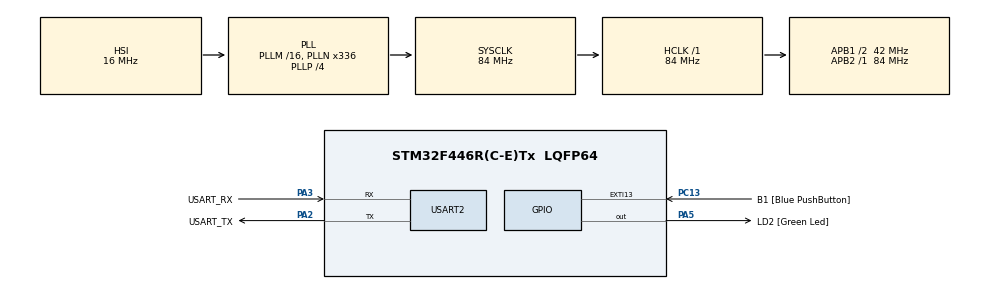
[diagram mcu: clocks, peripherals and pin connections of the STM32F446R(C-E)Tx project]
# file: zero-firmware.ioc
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Dma.Request0=USART2_TX
Dma.USART2_TX.0.Direction=DMA_MEMORY_TO_PERIPH
Dma.USART2_TX.0.FIFOMode=DMA_FIFOMODE_DISABLE
Dma.USART2_TX.0.Instance=DMA1_Stream6
Dma.USART2_TX.0.MemDataAlignment=DMA_MDATAALIGN_BYTE
Dma.USART2_TX.0.MemInc=DMA_MINC_ENABLE
Dma.USART2_TX.0.Mode=DMA_NORMAL
Dma.USART2_TX.0.PeriphDataAlignment=DMA_PDATAALIGN_BYTE
Dma.USART2_TX.0.PeriphInc=DMA_PINC_DISABLE
Dma.USART2_TX.0.Priority=DMA_PRIORITY_LOW
FREERTOS.Tasks01=defaultTask,24,128,StartDefaultTask,Default,NULL,Dynamic,NULL,NULL
FREERTOS.configCHECK_FOR_STACK_OVERFLOW=2
FREERTOS.configUSE_NEWLIB_REENTRANT=1
IWDG.Prescaler=IWDG_PRESCALER_16
Mcu.Family=STM32F4
Mcu.Name=STM32F446R(C-E)Tx
Mcu.Package=LQFP64
NVIC.DMA1_Stream6_IRQn=true\:5\:0\:false\:false\:true\:true\:false\:true\:true
NVIC.PriorityGroup=NVIC_PRIORITYGROUP_4
NVIC.TIM6_DAC_IRQn=true\:15\:0\:false\:false\:true\:false\:false\:true\:true
NVIC.TimeBase=TIM6_DAC_IRQn
NVIC.TimeBaseIP=TIM6
NVIC.USART2_IRQn=true\:5\:0\:false\:false\:true\:true\:true\:true\:true
PA13.GPIO_Label=TMS
PA13.Mode=Serial_Wire
PA13.Signal=SYS_JTMS-SWDIO
PA14.GPIO_Label=TCK
PA14.Mode=Serial_Wire
PA14.Signal=SYS_JTCK-SWCLK
PA2.GPIO_Label=USART_TX
PA2.Mode=Asynchronous
PA2.Signal=USART2_TX
PA3.GPIO_Label=USART_RX
PA3.Mode=Asynchronous
PA3.Signal=USART2_RX
PA5.GPIO_Label=LD2 [Green Led]
PA5.Signal=GPIO_Output
PB3.GPIO_Label=SWO
PB3.Signal=SYS_JTDO-SWO
PC13.GPIO_Label=B1 [Blue PushButton]
PC13.GPIO_ModeDefaultEXTI=GPIO_MODE_IT_FALLING
PC13.Signal=GPXTI13
PC14-OSC32_IN.Mode=LSE-External-Oscillator
PC14-OSC32_IN.Signal=RCC_OSC32_IN
PC15-OSC32_OUT.Mode=LSE-External-Oscillator
PC15-OSC32_OUT.Signal=RCC_OSC32_OUT
PH0-OSC_IN.Mode=HSE-External-Oscillator
PH0-OSC_IN.Signal=RCC_OSC_IN
PH1-OSC_OUT.Mode=HSE-External-Oscillator
PH1-OSC_OUT.Signal=RCC_OSC_OUT
ProjectManager.HeapSize=0x200
ProjectManager.StackSize=0x400
ProjectManager.TargetToolchain=STM32CubeIDE
RCC.48MHZClocksFreq_Value=84000000
RCC.AHBFreq_Value=84000000
RCC.APB1CLKDivider=RCC_HCLK_DIV2
RCC.APB1Freq_Value=42000000
RCC.APB1TimFreq_Value=84000000
RCC.APB2Freq_Value=84000000
RCC.APB2TimFreq_Value=84000000
RCC.CortexFreq_Value=84000000
RCC.FLatency-AdvancedSettings=FLASH_LATENCY_2
RCC.HCLKFreq_Value=84000000
RCC.HSE_VALUE=8000000
RCC.HSI_VALUE=16000000
RCC.PLLN=336
RCC.PLLP=RCC_PLLP_DIV4
RCC.SYSCLKFreq_VALUE=84000000
RCC.SYSCLKSource=RCC_SYSCLKSOURCE_PLLCLK
RCC.USBFreq_Value=168000000
RCC.VCOOutputFreq_Value=336000000
USART2.VirtualMode=VM_ASYNC
VP_FREERTOS_VS_CMSIS_V2.Mode=CMSIS_V2
VP_IWDG_VS_IWDG.Mode=IWDG_Activate
VP_SYS_VS_tim6.Mode=TIM6
board=NUCLEO-F446RE

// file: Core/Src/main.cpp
/* USER CODE BEGIN Header */
/**
  ******************************************************************************
  * @file           : main.c
  * @brief          : Main program body
  ******************************************************************************
  * @attention
  *
  * Copyright (c) 2026 STMicroelectronics.
  * All rights reserved.
  *
  * This software is licensed under terms that can be found in the LICENSE file
  * in the root directory of this software component.
  * If no LICENSE file comes with this software, it is provided AS-IS.
  *
  ******************************************************************************
  */
/* USER CODE END Header */
#include "main.h"
#include "cmsis_os.h"

/* USER CODE BEGIN Includes */
#include "imu_data.hpp"
#include <cstdlib>
#include <cmath>
#include <cstdio>
#include <cstring>
/* USER CODE END Includes */

IWDG_HandleTypeDef hiwdg;

UART_HandleTypeDef huart2;
DMA_HandleTypeDef hdma_usart2_tx;

/* Definitions for defaultTask */
osThreadId_t defaultTaskHandle;
const osThreadAttr_t defaultTask_attributes = {
  .name = "defaultTask",
  .stack_size = 128 * 4,
  .priority = (osPriority_t) osPriorityNormal,
};
/* USER CODE BEGIN PV */
osMessageQueueId_t imuQueueHandle;

/* DMA UART TX Semaphore handle */
osSemaphoreId_t uartTxSemHandle;

/* Definitions for SensorTask */
osThreadId_t sensorTaskHandle;
const osThreadAttr_t sensorTask_attributes = {
  .name = "SensorTask",
  .stack_size = 128 * 4,
  .priority = (osPriority_t) osPriorityNormal,
};

/* Definitions for UartTask */
osThreadId_t uartTaskHandle;
const osThreadAttr_t uartTask_attributes = {
  .name = "UartTask",
  .stack_size = 128 * 8,
  .priority = (osPriority_t) osPriorityNormal,
};
/* USER CODE END PV */

void SystemClock_Config(void);
static void MX_GPIO_Init(void);
static void MX_DMA_Init(void);
static void MX_USART2_UART_Init(void);
static void MX_IWDG_Init(void);
void StartDefaultTask(void *argument);

/* USER CODE BEGIN PFP */
void SensorTask(void *argument);
void UartTask(void *argument);
/* USER CODE END PFP */

int main(void)
{

  /* MCU Configuration--------------------------------------------------------*/

  /* Reset of all peripherals, Initializes the Flash interface and the Systick. */
  HAL_Init();

  /* Configure the system clock */
  SystemClock_Config();

  /* Initialize all configured peripherals */
  MX_GPIO_Init();
  MX_DMA_Init();
  MX_USART2_UART_Init();
  MX_IWDG_Init();

  /* Init scheduler */
  osKernelInitialize();

  /* USER CODE BEGIN RTOS_QUEUES */
  imuQueueHandle = osMessageQueueNew(8, sizeof(imu_data), NULL);
  uartTxSemHandle = osSemaphoreNew(1, 1, NULL);
  /* USER CODE END RTOS_QUEUES */

  /* Create the thread(s) */
  /* creation of defaultTask */
  defaultTaskHandle = osThreadNew(StartDefaultTask, NULL, &defaultTask_attributes);

  /* USER CODE BEGIN RTOS_THREADS */
  /* creation of sensorTask */
  sensorTaskHandle = osThreadNew(SensorTask, NULL, &sensorTask_attributes);
  /* creation of uartTask */
  uartTaskHandle = osThreadNew(UartTask, NULL, &uartTask_attributes);
  /* USER CODE END RTOS_THREADS */

  /* Start scheduler */
  osKernelStart();

  /* We should never get here as control is now taken by the scheduler */

  /* Infinite loop */
  while (1)
  {

  }
}

void SystemClock_Config(void)
{
  RCC_OscInitTypeDef RCC_OscInitStruct = {0};
  RCC_ClkInitTypeDef RCC_ClkInitStruct = {0};

  /** Configure the main internal regulator output voltage
  */
  __HAL_RCC_PWR_CLK_ENABLE();
  __HAL_PWR_VOLTAGESCALING_CONFIG(PWR_REGULATOR_VOLTAGE_SCALE3);

  /** Initializes the RCC Oscillators according to the specified parameters
  * in the RCC_OscInitTypeDef structure.
  */
  RCC_OscInitStruct.OscillatorType = RCC_OSCILLATORTYPE_HSI|RCC_OSCILLATORTYPE_LSI;
  RCC_OscInitStruct.HSIState = RCC_HSI_ON;
  RCC_OscInitStruct.HSICalibrationValue = RCC_HSICALIBRATION_DEFAULT;
  RCC_OscInitStruct.LSIState = RCC_LSI_ON;
  RCC_OscInitStruct.PLL.PLLState = RCC_PLL_ON;
  RCC_OscInitStruct.PLL.PLLSource = RCC_PLLSOURCE_HSI;
  RCC_OscInitStruct.PLL.PLLM = 16;
  RCC_OscInitStruct.PLL.PLLN = 336;
  RCC_OscInitStruct.PLL.PLLP = RCC_PLLP_DIV4;
  RCC_OscInitStruct.PLL.PLLQ = 2;
  RCC_OscInitStruct.PLL.PLLR = 2;
  if (HAL_RCC_OscConfig(&RCC_OscInitStruct) != HAL_OK)
  {
    Error_Handler();
  }

  /** Initializes the CPU, AHB and APB buses clocks
  */
  RCC_ClkInitStruct.ClockType = RCC_CLOCKTYPE_HCLK|RCC_CLOCKTYPE_SYSCLK
                              |RCC_CLOCKTYPE_PCLK1|RCC_CLOCKTYPE_PCLK2;
  RCC_ClkInitStruct.SYSCLKSource = RCC_SYSCLKSOURCE_PLLCLK;
  RCC_ClkInitStruct.AHBCLKDivider = RCC_SYSCLK_DIV1;
  RCC_ClkInitStruct.APB1CLKDivider = RCC_HCLK_DIV2;
  RCC_ClkInitStruct.APB2CLKDivider = RCC_HCLK_DIV1;

  if (HAL_RCC_ClockConfig(&RCC_ClkInitStruct, FLASH_LATENCY_2) != HAL_OK)
  {
    Error_Handler();
  }
}

static void MX_IWDG_Init(void)
{

  hiwdg.Instance = IWDG;
  hiwdg.Init.Prescaler = IWDG_PRESCALER_16;
  hiwdg.Init.Reload = 4095;
  if (HAL_IWDG_Init(&hiwdg) != HAL_OK)
  {
    Error_Handler();
  }

}

static void MX_USART2_UART_Init(void)
{

  huart2.Instance = USART2;
  huart2.Init.BaudRate = 115200;
  huart2.Init.WordLength = UART_WORDLENGTH_8B;
  huart2.Init.StopBits = UART_STOPBITS_1;
  huart2.Init.Parity = UART_PARITY_NONE;
  huart2.Init.Mode = UART_MODE_TX_RX;
  huart2.Init.HwFlowCtl = UART_HWCONTROL_NONE;
  huart2.Init.OverSampling = UART_OVERSAMPLING_16;
  if (HAL_UART_Init(&huart2) != HAL_OK)
  {
    Error_Handler();
  }

}

static void MX_DMA_Init(void)
{

  /* DMA controller clock enable */
  __HAL_RCC_DMA1_CLK_ENABLE();

  /* DMA interrupt init */
  /* DMA1_Stream6_IRQn interrupt configuration */
  HAL_NVIC_SetPriority(DMA1_Stream6_IRQn, 5, 0);
  HAL_NVIC_EnableIRQ(DMA1_Stream6_IRQn);

}

static void MX_GPIO_Init(void)
{
  GPIO_InitTypeDef GPIO_InitStruct = {0};

  /* GPIO Ports Clock Enable */
  __HAL_RCC_GPIOC_CLK_ENABLE();
  __HAL_RCC_GPIOH_CLK_ENABLE();
  __HAL_RCC_GPIOA_CLK_ENABLE();
  __HAL_RCC_GPIOB_CLK_ENABLE();

  /*Configure GPIO pin Output Level */
  HAL_GPIO_WritePin(LD2_GPIO_Port, LD2_Pin, GPIO_PIN_RESET);

  /*Configure GPIO pin : B1_Pin */
  GPIO_InitStruct.Pin = B1_Pin;
  GPIO_InitStruct.Mode = GPIO_MODE_IT_FALLING;
  GPIO_InitStruct.Pull = GPIO_NOPULL;
  HAL_GPIO_Init(B1_GPIO_Port, &GPIO_InitStruct);

  /*Configure GPIO pin : LD2_Pin */
  GPIO_InitStruct.Pin = LD2_Pin;
  GPIO_InitStruct.Mode = GPIO_MODE_OUTPUT_PP;
  GPIO_InitStruct.Pull = GPIO_NOPULL;
  GPIO_InitStruct.Speed = GPIO_SPEED_FREQ_LOW;
  HAL_GPIO_Init(LD2_GPIO_Port, &GPIO_InitStruct);

}

/* USER CODE BEGIN 4 */
/**
  * @brief  Generate a random float in [-range, +range] for mock sensor noise
  * @param  range Maximum absolute value of the output
  * @retval float in [-range, +range]
  */
static float randomNoise(float range)
{
  return ((float)rand() / RAND_MAX) * 2.0f * range - range;
}

/**
  * @brief  Check that IMU data falls within MPU-6050 physical sensor limits
  * @param  data IMU data to validate (accel ±16g, gyro ±2000°/s)
  * @retval true if all axes are within range, false otherwise
  */
static bool imu_data_valid(const imu_data& data)
{
	return fabsf(data.ax) <= 16.0f && fabsf(data.ay) <= 16.0f && fabsf(data.az) <= 16.0f &&
			fabsf(data.gx) <= 2000.0f && fabsf(data.gy) <= 2000.0f && fabsf(data.gz) <= 2000.0f;
}

/**
  * @brief  UART TX DMA completion callback — releases the TX semaphore to unblock UartTask
  * @param  huart UART handle that triggered the callback
  * @retval None
  */
extern "C" void HAL_UART_TxCpltCallback(UART_HandleTypeDef *huart) {
    if (huart->Instance == USART2) {
        osSemaphoreRelease(uartTxSemHandle);
    }
}

/**
  * @brief  Kick IWDG, generate mock IMU data, validate it, and push to queue every 10 ms
  * @param  argument Not used
  * @retval None
  */
void SensorTask(void *argument)
{
	for(;;)
	{
		HAL_IWDG_Refresh(&hiwdg);

		imu_data data{randomNoise(0.02f),
									randomNoise(0.02f),
									1.0f + randomNoise(0.02f),
									randomNoise(0.1f),
									randomNoise(0.1f),
									randomNoise(0.1f)};
		data.timestamp = HAL_GetTick();

		if(imu_data_valid(data))
		{
			osMessageQueuePut(imuQueueHandle, &data, 0, 0);
		}

		osDelay(10);
	}
}

/**
  * @brief  Receive IMU data from queue and transmit it over UART2 via DMA
  * @param  argument Not used
  * @retval None
  */
void UartTask(void *argument)
{
	for(;;)
	{
		imu_data data;

		static char buf[128];

		osMessageQueueGet(imuQueueHandle, &data, NULL, osWaitForever);

		osSemaphoreAcquire(uartTxSemHandle, osWaitForever);

		snprintf(buf, sizeof(buf), "ax = %.2f, ay = %.2f, az = %.2f, gx = %.2f, gy = %.2f, gz = %.2f, TS = %lu\n",
																			data.ax, data.ay, data.az, data.gx, data.gy, data.gz, data.timestamp);

		/* what to do if HAL_BUSY or HAL_ERROR */
		HAL_UART_Transmit_DMA(&huart2, (uint8_t*)buf, strlen(buf));
	}
}
/* USER CODE END 4 */

void StartDefaultTask(void *argument)
{
  for(;;)
  {
    osDelay(1);
  }
}

void HAL_TIM_PeriodElapsedCallback(TIM_HandleTypeDef *htim)
{
  if (htim->Instance == TIM6)
  {
    HAL_IncTick();
  }
}

void Error_Handler(void)
{
  __disable_irq();
  while (1)
  {
  }
}

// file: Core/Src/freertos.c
/* USER CODE BEGIN Header */
/**
  ******************************************************************************
  * File Name          : freertos.c
  * Description        : Code for freertos applications
  ******************************************************************************
  * @attention
  *
  * Copyright (c) 2026 STMicroelectronics.
  * All rights reserved.
  *
  * This software is licensed under terms that can be found in the LICENSE file
  * in the root directory of this software component.
  * If no LICENSE file comes with this software, it is provided AS-IS.
  *
  ******************************************************************************
  */
/* USER CODE END Header */

#include "FreeRTOS.h"
#include "task.h"
#include "main.h"

/* Hook prototypes */
void vApplicationStackOverflowHook(xTaskHandle xTask, signed char *pcTaskName);

/* USER CODE BEGIN 4 */
void vApplicationStackOverflowHook(xTaskHandle xTask, signed char *pcTaskName)
{
   /* Run time stack overflow checking is performed if
   configCHECK_FOR_STACK_OVERFLOW is defined to 1 or 2. This hook function is
   called if a stack overflow is detected. */
   for(;;) {}
}
/* USER CODE END 4 */
